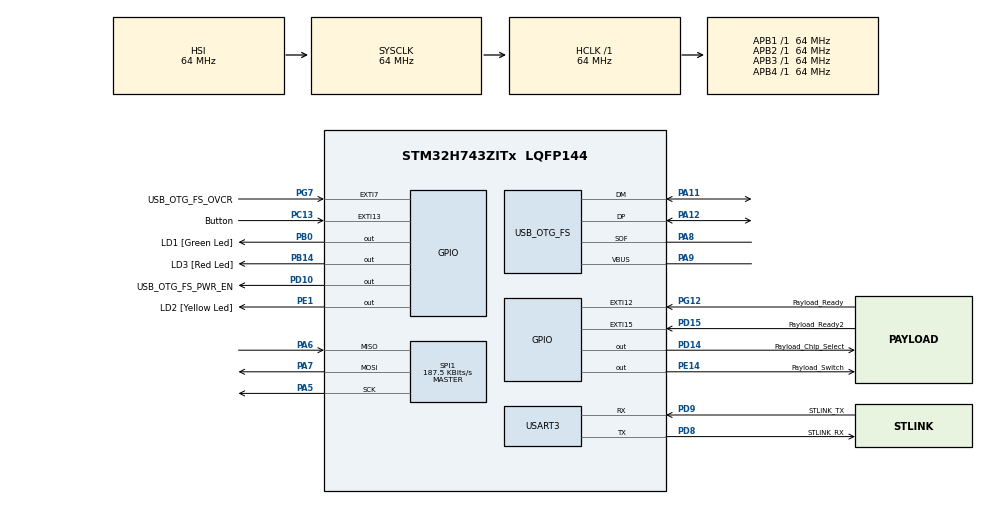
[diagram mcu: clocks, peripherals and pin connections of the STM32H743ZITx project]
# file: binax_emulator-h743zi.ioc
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Mcu.Family=STM32H7
Mcu.Name=STM32H743ZITx
Mcu.Package=LQFP144
NVIC.EXTI15_10_IRQn=true\:5\:0\:true\:false\:true\:true\:true\:true
NVIC.EXTI9_5_IRQn=true\:5\:0\:true\:false\:true\:true\:true\:true
NVIC.PriorityGroup=NVIC_PRIORITYGROUP_4
PA11.Mode=Device_Only
PA11.Signal=USB_OTG_FS_DM
PA12.Mode=Device_Only
PA12.Signal=USB_OTG_FS_DP
PA5.Mode=Full_Duplex_Master
PA5.Signal=SPI1_SCK
PA6.Mode=Full_Duplex_Master
PA6.Signal=SPI1_MISO
PA7.Mode=Full_Duplex_Master
PA7.Signal=SPI1_MOSI
PA8.Mode=Activate_SOF_FS
PA8.Signal=USB_OTG_FS_SOF
PA9.Mode=Activate_VBUS
PA9.Signal=USB_OTG_FS_VBUS
PB0.GPIO_Label=LD1 [Green Led]
PB0.Signal=GPIO_Output
PB14.GPIO_Label=LD3 [Red Led]
PB14.Signal=GPIO_Output
PC13.GPIO_Label=Button
PC13.Signal=GPXTI13
PC14-OSC32_IN\ (OSC32_IN).Mode=LSE-External-Oscillator
PC14-OSC32_IN\ (OSC32_IN).Signal=RCC_OSC32_IN
PC15-OSC32_OUT\ (OSC32_OUT).Mode=LSE-External-Oscillator
PC15-OSC32_OUT\ (OSC32_OUT).Signal=RCC_OSC32_OUT
PD10.GPIO_Label=USB_OTG_FS_PWR_EN
PD10.Signal=GPIO_Output
PD14.GPIO_Label=Payload_Chip_Select
PD14.GPIO_PuPd=GPIO_PULLDOWN
PD14.Signal=GPIO_Output
PD15.GPIO_Label=Payload_Ready2
PD15.GPIO_PuPd=GPIO_PULLDOWN
PD15.Signal=GPXTI15
PD8.GPIO_Label=STLINK_RX
PD8.Mode=Asynchronous
PD8.Signal=USART3_TX
PD9.GPIO_Label=STLINK_TX
PD9.Mode=Asynchronous
PD9.Signal=USART3_RX
PE1.GPIO_Label=LD2 [Yellow Led]
PE1.Signal=GPIO_Output
PE14.GPIO_Label=Payload_Switch
PE14.GPIO_PuPd=GPIO_PULLDOWN
PE14.Signal=GPIO_Output
PG12.GPIO_Label=Payload_Ready
PG12.Signal=GPXTI12
PG7.GPIO_Label=USB_OTG_FS_OVCR
PG7.Signal=GPXTI7
PH0-OSC_IN\ (PH0).Mode=HSE-External-Clock-Source
PH0-OSC_IN\ (PH0).Signal=RCC_OSC_IN
ProjectManager.HeapSize=0x200
ProjectManager.StackSize=0x400
ProjectManager.TargetToolchain=STM32CubeIDE
RCC.ADCFreq_Value=16125000
RCC.APB1Freq_Value=64000000
RCC.APB2Freq_Value=64000000
RCC.APB3Freq_Value=64000000
RCC.APB4Freq_Value=64000000
RCC.CortexFreq_Value=64000000
RCC.DIVM1=1
RCC.DIVN1=24
RCC.DIVQ1=4
RCC.HCLKFreq_Value=64000000
RCC.HSE_VALUE=8000000
RCC.PLLFRACN=0
RCC.PWR_Regulator_Voltage_Scale=PWR_REGULATOR_VOLTAGE_SCALE2
RCC.SYSCLKFreq_VALUE=64000000
RCC.USBFreq_Value=48000000
SPI1.BaudRatePrescaler=SPI_BAUDRATEPRESCALER_256
SPI1.CLKPhase=SPI_PHASE_1EDGE
SPI1.CLKPolarity=SPI_POLARITY_LOW
SPI1.CalculateBaudRate=187.5 KBits/s
SPI1.DataSize=SPI_DATASIZE_8BIT
SPI1.Direction=SPI_DIRECTION_2LINES
SPI1.IOSwap=SPI_IO_SWAP_DISABLE
SPI1.Mode=SPI_MODE_MASTER
SPI1.VirtualType=VM_MASTER
USART3.VirtualMode-Asynchronous=VM_ASYNC
USB_OTG_FS.VirtualMode=Device_Only
board=NUCLEO-H743ZI2

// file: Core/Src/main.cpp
/* USER CODE BEGIN Header */
/**
 ******************************************************************************
 * @file           : main.c
 * @brief          : Main program body
 ******************************************************************************
 * @attention
 *
 * Copyright (c) 2023 STMicroelectronics.
 * All rights reserved.
 *
 * This software is licensed under terms that can be found in the LICENSE file
 * in the root directory of this software component.
 * If no LICENSE file comes with this software, it is provided AS-IS.
 *
 ******************************************************************************
 */
/* USER CODE END Header */
#include "main.h"

#include "abstraction_layer/gpio/public/emulator_gpo.h"
#include "abstraction_layer/gpio/public/internal/gpo.h"
#include "abstraction_layer/inc/serial_impl.h"
#include "abstraction_layer/inc/time_impl.h"
#include "emulator/public/emulator.h"
#include "string.h"

SPI_HandleTypeDef hspi1;

UART_HandleTypeDef huart3;

PCD_HandleTypeDef hpcd_USB_OTG_FS;

void SystemClock_Config(void);
static void MX_GPIO_Init(void);
static void MX_USART3_UART_Init(void);
static void MX_USB_OTG_FS_PCD_Init(void);
static void MX_SPI1_Init(void);

/* USER CODE BEGIN 0 */
bsf::hal::gpio::Gpo<bsf::hal::gpio::GpoPin::kRedLed> gpo_red_led;
bsf::hal::gpio::Gpo<bsf::hal::gpio::GpoPin::kYellowLed> gpo_yellow_led;
bsf::hal::gpio::Gpo<bsf::hal::gpio::GpoPin::kGreenLed> gpo_green_led;
bsf::hal::gpio::Gpo<bsf::hal::gpio::GpoPin::kPayloadSwitch> gpo_payload_switch;
bsf::hal::gpio::Gpo<bsf::hal::gpio::GpoPin::kPayloadChipSelect>
    gpo_payload_chip_select;
binarx_serial_impl::SpiImpl spi_controller = binarx_serial_impl::SpiImpl();
binarx_serial_impl::UartImpl uart_controller = binarx_serial_impl::UartImpl();
binarx_time_impl::TimeImpl time_controller = binarx_time_impl::TimeImpl();
binarx::emulator::BinarXEmulator emulator = binarx::emulator::BinarXEmulator(
    spi_controller, uart_controller, gpo_red_led, gpo_yellow_led, gpo_green_led,
    gpo_payload_switch, gpo_payload_chip_select, time_controller);

extern "C" void HAL_GPIO_EXTI_Callback(uint16_t GPIO_Pin) {
  switch (GPIO_Pin) {
    case Button_Pin:
      emulator.ButtonPressCallback();
      break;
    case Payload_Ready_Pin:
      emulator.PayloadReadyInterruptCallback();
      break;
    default:
      break;
  }
}

/* USER CODE END 0 */

int main(void) {

  /* MCU Configuration--------------------------------------------------------*/

  /* Reset of all peripherals, Initializes the Flash interface and the Systick.
   */
  HAL_Init();

  /* Configure the system clock */
  SystemClock_Config();

  /* Initialize all configured peripherals */
  MX_GPIO_Init();
  MX_USART3_UART_Init();
  MX_USB_OTG_FS_PCD_Init();
  MX_SPI1_Init();
  /* USER CODE BEGIN 2 */
  emulator.Init();
  /* USER CODE END 2 */

  /* Infinite loop */
  while (1) {
    emulator.Run();
  }
}

void SystemClock_Config(void)
{
  RCC_OscInitTypeDef RCC_OscInitStruct = {0};
  RCC_ClkInitTypeDef RCC_ClkInitStruct = {0};

  /** Supply configuration update enable
  */
  HAL_PWREx_ConfigSupply(PWR_LDO_SUPPLY);

  /** Configure the main internal regulator output voltage
  */
  __HAL_PWR_VOLTAGESCALING_CONFIG(PWR_REGULATOR_VOLTAGE_SCALE2);

  while(!__HAL_PWR_GET_FLAG(PWR_FLAG_VOSRDY)) {}

  /** Initializes the RCC Oscillators according to the specified parameters
  * in the RCC_OscInitTypeDef structure.
  */
  RCC_OscInitStruct.OscillatorType = RCC_OSCILLATORTYPE_HSI|RCC_OSCILLATORTYPE_HSE;
  RCC_OscInitStruct.HSEState = RCC_HSE_BYPASS;
  RCC_OscInitStruct.HSIState = RCC_HSI_DIV1;
  RCC_OscInitStruct.HSICalibrationValue = RCC_HSICALIBRATION_DEFAULT;
  RCC_OscInitStruct.PLL.PLLState = RCC_PLL_ON;
  RCC_OscInitStruct.PLL.PLLSource = RCC_PLLSOURCE_HSE;
  RCC_OscInitStruct.PLL.PLLM = 1;
  RCC_OscInitStruct.PLL.PLLN = 24;
  RCC_OscInitStruct.PLL.PLLP = 2;
  RCC_OscInitStruct.PLL.PLLQ = 4;
  RCC_OscInitStruct.PLL.PLLR = 2;
  RCC_OscInitStruct.PLL.PLLRGE = RCC_PLL1VCIRANGE_3;
  RCC_OscInitStruct.PLL.PLLVCOSEL = RCC_PLL1VCOWIDE;
  RCC_OscInitStruct.PLL.PLLFRACN = 0;
  if (HAL_RCC_OscConfig(&RCC_OscInitStruct) != HAL_OK)
  {
    Error_Handler();
  }

  /** Initializes the CPU, AHB and APB buses clocks
  */
  RCC_ClkInitStruct.ClockType = RCC_CLOCKTYPE_HCLK|RCC_CLOCKTYPE_SYSCLK
                              |RCC_CLOCKTYPE_PCLK1|RCC_CLOCKTYPE_PCLK2
                              |RCC_CLOCKTYPE_D3PCLK1|RCC_CLOCKTYPE_D1PCLK1;
  RCC_ClkInitStruct.SYSCLKSource = RCC_SYSCLKSOURCE_HSI;
  RCC_ClkInitStruct.SYSCLKDivider = RCC_SYSCLK_DIV1;
  RCC_ClkInitStruct.AHBCLKDivider = RCC_HCLK_DIV1;
  RCC_ClkInitStruct.APB3CLKDivider = RCC_APB3_DIV1;
  RCC_ClkInitStruct.APB1CLKDivider = RCC_APB1_DIV1;
  RCC_ClkInitStruct.APB2CLKDivider = RCC_APB2_DIV1;
  RCC_ClkInitStruct.APB4CLKDivider = RCC_APB4_DIV1;

  if (HAL_RCC_ClockConfig(&RCC_ClkInitStruct, FLASH_LATENCY_1) != HAL_OK)
  {
    Error_Handler();
  }
}

static void MX_SPI1_Init(void)
{

  /* SPI1 parameter configuration*/
  hspi1.Instance = SPI1;
  hspi1.Init.Mode = SPI_MODE_MASTER;
  hspi1.Init.Direction = SPI_DIRECTION_2LINES;
  hspi1.Init.DataSize = SPI_DATASIZE_8BIT;
  hspi1.Init.CLKPolarity = SPI_POLARITY_LOW;
  hspi1.Init.CLKPhase = SPI_PHASE_1EDGE;
  hspi1.Init.NSS = SPI_NSS_SOFT;
  hspi1.Init.BaudRatePrescaler = SPI_BAUDRATEPRESCALER_256;
  hspi1.Init.FirstBit = SPI_FIRSTBIT_MSB;
  hspi1.Init.TIMode = SPI_TIMODE_DISABLE;
  hspi1.Init.CRCCalculation = SPI_CRCCALCULATION_DISABLE;
  hspi1.Init.CRCPolynomial = 0x0;
  hspi1.Init.NSSPMode = SPI_NSS_PULSE_ENABLE;
  hspi1.Init.NSSPolarity = SPI_NSS_POLARITY_LOW;
  hspi1.Init.FifoThreshold = SPI_FIFO_THRESHOLD_01DATA;
  hspi1.Init.TxCRCInitializationPattern = SPI_CRC_INITIALIZATION_ALL_ZERO_PATTERN;
  hspi1.Init.RxCRCInitializationPattern = SPI_CRC_INITIALIZATION_ALL_ZERO_PATTERN;
  hspi1.Init.MasterSSIdleness = SPI_MASTER_SS_IDLENESS_00CYCLE;
  hspi1.Init.MasterInterDataIdleness = SPI_MASTER_INTERDATA_IDLENESS_00CYCLE;
  hspi1.Init.MasterReceiverAutoSusp = SPI_MASTER_RX_AUTOSUSP_DISABLE;
  hspi1.Init.MasterKeepIOState = SPI_MASTER_KEEP_IO_STATE_DISABLE;
  hspi1.Init.IOSwap = SPI_IO_SWAP_DISABLE;
  if (HAL_SPI_Init(&hspi1) != HAL_OK)
  {
    Error_Handler();
  }

}

static void MX_USART3_UART_Init(void)
{

  huart3.Instance = USART3;
  huart3.Init.BaudRate = 115200;
  huart3.Init.WordLength = UART_WORDLENGTH_8B;
  huart3.Init.StopBits = UART_STOPBITS_1;
  huart3.Init.Parity = UART_PARITY_NONE;
  huart3.Init.Mode = UART_MODE_TX_RX;
  huart3.Init.HwFlowCtl = UART_HWCONTROL_NONE;
  huart3.Init.OverSampling = UART_OVERSAMPLING_16;
  huart3.Init.OneBitSampling = UART_ONE_BIT_SAMPLE_DISABLE;
  huart3.Init.ClockPrescaler = UART_PRESCALER_DIV1;
  huart3.AdvancedInit.AdvFeatureInit = UART_ADVFEATURE_NO_INIT;
  if (HAL_UART_Init(&huart3) != HAL_OK)
  {
    Error_Handler();
  }
  if (HAL_UARTEx_SetTxFifoThreshold(&huart3, UART_TXFIFO_THRESHOLD_1_8) != HAL_OK)
  {
    Error_Handler();
  }
  if (HAL_UARTEx_SetRxFifoThreshold(&huart3, UART_RXFIFO_THRESHOLD_1_8) != HAL_OK)
  {
    Error_Handler();
  }
  if (HAL_UARTEx_DisableFifoMode(&huart3) != HAL_OK)
  {
    Error_Handler();
  }

}

static void MX_USB_OTG_FS_PCD_Init(void)
{

  hpcd_USB_OTG_FS.Instance = USB_OTG_FS;
  hpcd_USB_OTG_FS.Init.dev_endpoints = 9;
  hpcd_USB_OTG_FS.Init.speed = PCD_SPEED_FULL;
  hpcd_USB_OTG_FS.Init.dma_enable = DISABLE;
  hpcd_USB_OTG_FS.Init.phy_itface = PCD_PHY_EMBEDDED;
  hpcd_USB_OTG_FS.Init.Sof_enable = ENABLE;
  hpcd_USB_OTG_FS.Init.low_power_enable = DISABLE;
  hpcd_USB_OTG_FS.Init.lpm_enable = DISABLE;
  hpcd_USB_OTG_FS.Init.battery_charging_enable = ENABLE;
  hpcd_USB_OTG_FS.Init.vbus_sensing_enable = ENABLE;
  hpcd_USB_OTG_FS.Init.use_dedicated_ep1 = DISABLE;
  if (HAL_PCD_Init(&hpcd_USB_OTG_FS) != HAL_OK)
  {
    Error_Handler();
  }

}

static void MX_GPIO_Init(void)
{
  GPIO_InitTypeDef GPIO_InitStruct = {0};

  /* GPIO Ports Clock Enable */
  __HAL_RCC_GPIOC_CLK_ENABLE();
  __HAL_RCC_GPIOH_CLK_ENABLE();
  __HAL_RCC_GPIOA_CLK_ENABLE();
  __HAL_RCC_GPIOB_CLK_ENABLE();
  __HAL_RCC_GPIOE_CLK_ENABLE();
  __HAL_RCC_GPIOD_CLK_ENABLE();
  __HAL_RCC_GPIOG_CLK_ENABLE();

  /*Configure GPIO pin Output Level */
  HAL_GPIO_WritePin(GPIOB, LD1_Pin|LD3_Pin, GPIO_PIN_RESET);

  /*Configure GPIO pin Output Level */
  HAL_GPIO_WritePin(GPIOE, Payload_Switch_Pin|LD2_Pin, GPIO_PIN_RESET);

  /*Configure GPIO pin Output Level */
  HAL_GPIO_WritePin(GPIOD, USB_OTG_FS_PWR_EN_Pin|Payload_Chip_Select_Pin, GPIO_PIN_RESET);

  /*Configure GPIO pin : Button_Pin */
  GPIO_InitStruct.Pin = Button_Pin;
  GPIO_InitStruct.Mode = GPIO_MODE_IT_RISING;
  GPIO_InitStruct.Pull = GPIO_NOPULL;
  HAL_GPIO_Init(Button_GPIO_Port, &GPIO_InitStruct);

  /*Configure GPIO pins : LD1_Pin LD3_Pin */
  GPIO_InitStruct.Pin = LD1_Pin|LD3_Pin;
  GPIO_InitStruct.Mode = GPIO_MODE_OUTPUT_PP;
  GPIO_InitStruct.Pull = GPIO_NOPULL;
  GPIO_InitStruct.Speed = GPIO_SPEED_FREQ_LOW;
  HAL_GPIO_Init(GPIOB, &GPIO_InitStruct);

  /*Configure GPIO pin : Payload_Switch_Pin */
  GPIO_InitStruct.Pin = Payload_Switch_Pin;
  GPIO_InitStruct.Mode = GPIO_MODE_OUTPUT_PP;
  GPIO_InitStruct.Pull = GPIO_PULLDOWN;
  GPIO_InitStruct.Speed = GPIO_SPEED_FREQ_LOW;
  HAL_GPIO_Init(Payload_Switch_GPIO_Port, &GPIO_InitStruct);

  /*Configure GPIO pin : USB_OTG_FS_PWR_EN_Pin */
  GPIO_InitStruct.Pin = USB_OTG_FS_PWR_EN_Pin;
  GPIO_InitStruct.Mode = GPIO_MODE_OUTPUT_PP;
  GPIO_InitStruct.Pull = GPIO_NOPULL;
  GPIO_InitStruct.Speed = GPIO_SPEED_FREQ_LOW;
  HAL_GPIO_Init(USB_OTG_FS_PWR_EN_GPIO_Port, &GPIO_InitStruct);

  /*Configure GPIO pin : Payload_Chip_Select_Pin */
  GPIO_InitStruct.Pin = Payload_Chip_Select_Pin;
  GPIO_InitStruct.Mode = GPIO_MODE_OUTPUT_PP;
  GPIO_InitStruct.Pull = GPIO_PULLDOWN;
  GPIO_InitStruct.Speed = GPIO_SPEED_FREQ_LOW;
  HAL_GPIO_Init(Payload_Chip_Select_GPIO_Port, &GPIO_InitStruct);

  /*Configure GPIO pin : Payload_Ready2_Pin */
  GPIO_InitStruct.Pin = Payload_Ready2_Pin;
  GPIO_InitStruct.Mode = GPIO_MODE_IT_RISING;
  GPIO_InitStruct.Pull = GPIO_PULLDOWN;
  HAL_GPIO_Init(Payload_Ready2_GPIO_Port, &GPIO_InitStruct);

  /*Configure GPIO pins : USB_OTG_FS_OVCR_Pin Payload_Ready_Pin */
  GPIO_InitStruct.Pin = USB_OTG_FS_OVCR_Pin|Payload_Ready_Pin;
  GPIO_InitStruct.Mode = GPIO_MODE_IT_RISING;
  GPIO_InitStruct.Pull = GPIO_NOPULL;
  HAL_GPIO_Init(GPIOG, &GPIO_InitStruct);

  /*Configure GPIO pin : LD2_Pin */
  GPIO_InitStruct.Pin = LD2_Pin;
  GPIO_InitStruct.Mode = GPIO_MODE_OUTPUT_PP;
  GPIO_InitStruct.Pull = GPIO_NOPULL;
  GPIO_InitStruct.Speed = GPIO_SPEED_FREQ_LOW;
  HAL_GPIO_Init(LD2_GPIO_Port, &GPIO_InitStruct);

  /* EXTI interrupt init*/
  HAL_NVIC_SetPriority(EXTI9_5_IRQn, 5, 0);
  HAL_NVIC_EnableIRQ(EXTI9_5_IRQn);

  HAL_NVIC_SetPriority(EXTI15_10_IRQn, 5, 0);
  HAL_NVIC_EnableIRQ(EXTI15_10_IRQn);

}

void Error_Handler(void)
{
  __disable_irq();
  while (1)
  {
  }
}
